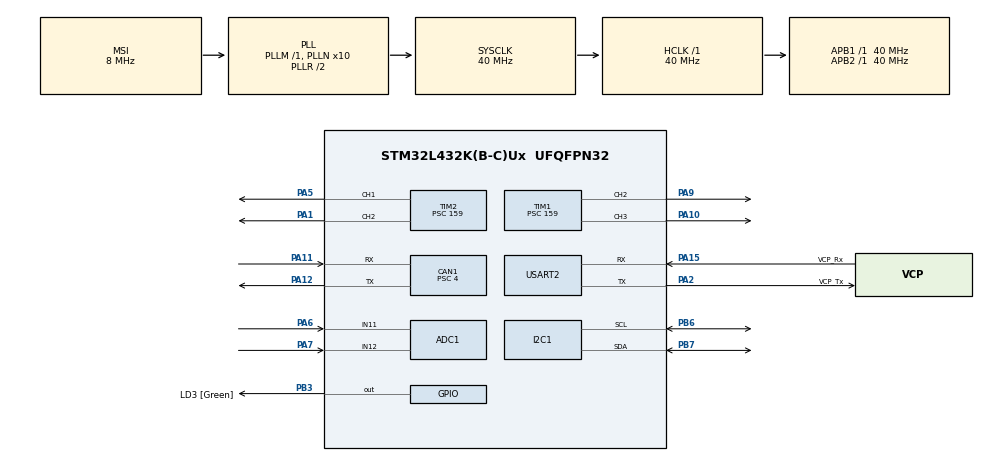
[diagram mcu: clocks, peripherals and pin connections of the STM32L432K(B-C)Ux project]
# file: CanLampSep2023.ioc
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ADC1.Channel-2\#ChannelRegularConversion=ADC_CHANNEL_12
ADC1.Channel-3\#ChannelRegularConversion=ADC_CHANNEL_11
ADC1.ClockPrescaler=ADC_CLOCK_ASYNC_DIV16
ADC1.ContinuousConvMode=ENABLE
ADC1.DMAContinuousRequests=ENABLE
ADC1.NbrOfConversion=2
ADC1.NbrOfConversionFlag=1
ADC1.OffsetNumber-2\#ChannelRegularConversion=ADC_OFFSET_NONE
ADC1.OffsetNumber-3\#ChannelRegularConversion=ADC_OFFSET_NONE
ADC1.Rank-2\#ChannelRegularConversion=1
ADC1.Rank-3\#ChannelRegularConversion=2
ADC1.SamplingTime-2\#ChannelRegularConversion=ADC_SAMPLETIME_640CYCLES_5
ADC1.SamplingTime-3\#ChannelRegularConversion=ADC_SAMPLETIME_640CYCLES_5
ADC1.master=1
CAN1.BS1=CAN_BS1_14TQ
CAN1.BS2=CAN_BS2_5TQ
CAN1.CalculateBaudRate=500000
CAN1.CalculateTimeBit=2000
CAN1.CalculateTimeQuantum=100.0
CAN1.Mode=CAN_MODE_NORMAL
CAN1.NART=ENABLE
CAN1.Prescaler=4
Dma.ADC1.0.Direction=DMA_PERIPH_TO_MEMORY
Dma.ADC1.0.Instance=DMA1_Channel1
Dma.ADC1.0.MemDataAlignment=DMA_MDATAALIGN_HALFWORD
Dma.ADC1.0.MemInc=DMA_MINC_ENABLE
Dma.ADC1.0.Mode=DMA_CIRCULAR
Dma.ADC1.0.PeriphDataAlignment=DMA_PDATAALIGN_HALFWORD
Dma.ADC1.0.PeriphInc=DMA_PINC_DISABLE
Dma.ADC1.0.Priority=DMA_PRIORITY_LOW
Dma.Request0=ADC1
Dma.Request1=USART2_RX
Dma.Request2=USART2_TX
Dma.USART2_RX.1.Direction=DMA_PERIPH_TO_MEMORY
Dma.USART2_RX.1.Instance=DMA1_Channel6
Dma.USART2_RX.1.MemDataAlignment=DMA_MDATAALIGN_BYTE
Dma.USART2_RX.1.MemInc=DMA_MINC_ENABLE
Dma.USART2_RX.1.Mode=DMA_NORMAL
Dma.USART2_RX.1.PeriphDataAlignment=DMA_PDATAALIGN_BYTE
Dma.USART2_RX.1.PeriphInc=DMA_PINC_DISABLE
Dma.USART2_RX.1.Priority=DMA_PRIORITY_LOW
Dma.USART2_TX.2.Direction=DMA_MEMORY_TO_PERIPH
Dma.USART2_TX.2.Instance=DMA1_Channel7
Dma.USART2_TX.2.MemDataAlignment=DMA_MDATAALIGN_BYTE
Dma.USART2_TX.2.MemInc=DMA_MINC_ENABLE
Dma.USART2_TX.2.Mode=DMA_NORMAL
Dma.USART2_TX.2.PeriphDataAlignment=DMA_PDATAALIGN_BYTE
Dma.USART2_TX.2.PeriphInc=DMA_PINC_DISABLE
Dma.USART2_TX.2.Priority=DMA_PRIORITY_LOW
I2C1.Timing=0x00D09BE3
Mcu.Family=STM32L4
Mcu.Name=STM32L432K(B-C)Ux
Mcu.Package=UFQFPN32
NVIC.CAN1_RX0_IRQn=true\:0\:0\:false\:false\:true\:true\:true\:true
NVIC.CAN1_RX1_IRQn=true\:0\:0\:false\:false\:true\:true\:true\:true
NVIC.CAN1_TX_IRQn=true\:0\:0\:false\:false\:true\:true\:true\:true
NVIC.DMA1_Channel1_IRQn=true\:0\:0\:false\:false\:true\:false\:true\:true
NVIC.DMA1_Channel6_IRQn=true\:0\:0\:false\:false\:true\:false\:true\:true
NVIC.DMA1_Channel7_IRQn=true\:0\:0\:false\:false\:true\:false\:true\:true
NVIC.I2C1_ER_IRQn=true\:0\:0\:false\:false\:true\:true\:true\:true
NVIC.I2C1_EV_IRQn=true\:0\:0\:false\:false\:true\:true\:true\:true
NVIC.PriorityGroup=NVIC_PRIORITYGROUP_4
NVIC.TIM6_DAC_IRQn=true\:0\:0\:false\:false\:true\:true\:true\:true
NVIC.USART2_IRQn=true\:0\:0\:false\:false\:true\:true\:true\:true
PA0.GPIO_Label=MCO [High speed clock in]
PA0.Mode=HSE-External-Clock-Source-for-LittleOrca
PA0.Signal=RCC_CK_IN
PA1.Signal=S_TIM2_CH2
PA10.Signal=S_TIM1_CH3
PA11.GPIO_PuPd=GPIO_PULLUP
PA11.Mode=CAN_Activate
PA11.Signal=CAN1_RX
PA12.Mode=CAN_Activate
PA12.Signal=CAN1_TX
PA13\ (JTMS-SWDIO).GPIO_Label=SWDIO
PA13\ (JTMS-SWDIO).Mode=Serial_Wire
PA13\ (JTMS-SWDIO).Signal=SYS_JTMS-SWDIO
PA14\ (JTCK-SWCLK).GPIO_Label=SWCLK
PA14\ (JTCK-SWCLK).Mode=Serial_Wire
PA14\ (JTCK-SWCLK).Signal=SYS_JTCK-SWCLK
PA15\ (JTDI).GPIO_Label=VCP_Rx
PA15\ (JTDI).Mode=Asynchronous
PA15\ (JTDI).Signal=USART2_RX
PA2.GPIO_Label=VCP_Tx
PA2.Mode=Asynchronous
PA2.Signal=USART2_TX
PA5.Signal=S_TIM2_CH1
PA6.Signal=ADCx_IN11
PA7.Signal=ADCx_IN12
PA9.Signal=S_TIM1_CH2
PB3\ (JTDO-TRACESWO).GPIO_Label=LD3 [Green]
PB3\ (JTDO-TRACESWO).Signal=GPIO_Output
PB6.Mode=I2C
PB6.Signal=I2C1_SCL
PB7.Mode=I2C
PB7.Signal=I2C1_SDA
PC14-OSC32_IN\ (PC14).Mode=LSE-External-Oscillator
PC14-OSC32_IN\ (PC14).Signal=RCC_OSC32_IN
PC15-OSC32_OUT\ (PC15).Mode=LSE-External-Oscillator
PC15-OSC32_OUT\ (PC15).Signal=RCC_OSC32_OUT
ProjectManager.HeapSize=0x200
ProjectManager.StackSize=0x400
ProjectManager.TargetToolchain=STM32CubeIDE
RCC.ADCCLockSelection=RCC_ADCCLKSOURCE_SYSCLK
RCC.ADCFreq_Value=40000000
RCC.AHBFreq_Value=40000000
RCC.APB1Freq_Value=40000000
RCC.APB1TimFreq_Value=40000000
RCC.APB2Freq_Value=40000000
RCC.APB2TimFreq_Value=40000000
RCC.CortexFreq_Value=40000000
RCC.HCLKFreq_Value=40000000
RCC.HSE_VALUE=8000000
RCC.HSI16_VALUE=16000000
RCC.HSI48_VALUE=48000000
RCC.HSI_VALUE=16000000
RCC.MSIClockRange=RCC_MSIRANGE_7
RCC.MSI_VALUE=8000000
RCC.PLLMUL=RCC_PLLMUL_4
RCC.PLLN=10
RCC.PLLSAI1N=16
RCC.SYSCLKFreq_VALUE=40000000
RCC.SYSCLKSource=RCC_SYSCLKSOURCE_PLLCLK
RCC.USBFreq_Value=64000000
RCC.VCOOutputFreq_Value=80000000
SH.ADCx_IN11.0=ADC1_IN11,IN11-Single-Ended
SH.ADCx_IN12.0=ADC1_IN12,IN12-Single-Ended
SH.S_TIM1_CH2.0=TIM1_CH2,PWM Generation2 CH2
SH.S_TIM1_CH3.0=TIM1_CH3,PWM Generation3 CH3
SH.S_TIM2_CH1.0=TIM2_CH1,PWM Generation1 CH1
SH.S_TIM2_CH2.0=TIM2_CH2,PWM Generation2 CH2
TIM1.Channel-PWM\ Generation2\ CH2=TIM_CHANNEL_2
TIM1.Channel-PWM\ Generation3\ CH3=TIM_CHANNEL_3
TIM1.Period=1024
TIM1.Prescaler=159
TIM1.Pulse-PWM\ Generation2\ CH2=1
TIM1.Pulse-PWM\ Generation3\ CH3=1
TIM2.Channel-PWM\ Generation1\ CH1=TIM_CHANNEL_1
TIM2.Channel-PWM\ Generation2\ CH2=TIM_CHANNEL_2
TIM2.OCPolarity_2=TIM_OCPOLARITY_HIGH
TIM2.Period=1024
TIM2.Prescaler=159
TIM2.Pulse-PWM\ Generation1\ CH1=1
TIM2.Pulse-PWM\ Generation2\ CH2=1
TIM6.AutoReloadPreload=TIM_AUTORELOAD_PRELOAD_ENABLE
TIM6.Period=999
TIM6.Prescaler=39
USART2.DMADisableonRxErrorParam=ADVFEATURE_DMA_ENABLEONRXERROR
USART2.OverrunDisableParam=ADVFEATURE_OVERRUN_ENABLE
USART2.VirtualMode-Asynchronous=VM_ASYNC
VP_RTC_VS_RTC_Activate.Mode=RTC_Enabled
VP_RTC_VS_RTC_Calendar.Mode=RTC_Calendar
VP_TIM1_VS_ClockSourceINT.Mode=Internal
VP_TIM6_VS_ClockSourceINT.Mode=Enable_Timer
board=NUCLEO-L432KC

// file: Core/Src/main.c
/* USER CODE BEGIN Header */
/**
  ******************************************************************************
  * @file           : main.c
  * @brief          : Main program body
  * @author			:	Jon Freeman B.  Eng.  Hons
  * @date			:	August 2023
  ******************************************************************************
  *
  *	For West Buckland Signals
  *
  *	LED Signal Head Controller
  *
  *	Unit uses Cree or Osram RGBW leds - separate Red, Green, Blue, White (check part nums)
  *
  *	Communicates with signalling system over CAN bus, aux com port also via USB
  *
  *	Supply voltage range 12 to 50 or similar.  Onboard voltmeter adjusts max LED current automatically
  *
  *
  ******************************************************************************
  */
/* USER CODE END Header */
#include "main.h"

/* USER CODE BEGIN Includes */
#include	<stdbool.h>

/* USER CODE END Includes */

/* USER CODE BEGIN PD */
#define	ADC_BUFFLEN		512

/* USER CODE END PD */

ADC_HandleTypeDef hadc1;
DMA_HandleTypeDef hdma_adc1;

CAN_HandleTypeDef hcan1;

I2C_HandleTypeDef hi2c1;

RTC_HandleTypeDef hrtc;

TIM_HandleTypeDef htim1;
TIM_HandleTypeDef htim2;
TIM_HandleTypeDef htim6;

UART_HandleTypeDef huart2;
DMA_HandleTypeDef hdma_usart2_rx;
DMA_HandleTypeDef hdma_usart2_tx;

/* USER CODE BEGIN PV */
volatile	bool	adc_half = false;
volatile	bool	adc_full = false;
uint16_t	adc_buff[ADC_BUFFLEN];

/* USER CODE END PV */

void SystemClock_Config(void);
static void MX_GPIO_Init(void);
static void MX_DMA_Init(void);
static void MX_USART2_UART_Init(void);
static void MX_ADC1_Init(void);
static void MX_CAN1_Init(void);
static void MX_TIM1_Init(void);
static void MX_I2C1_Init(void);
static void MX_TIM2_Init(void);
static void MX_RTC_Init(void);
static void MX_TIM6_Init(void);
/* USER CODE BEGIN PFP */
extern	void	ForeverLoop	()	;

/* USER CODE END PFP */

/* USER CODE BEGIN 0 */
#define	NUMOF_ADC_CHANS	2
//uint8_t		CANTxData[8];
//uint8_t		CANRxData[8];
//uint32_t	cancount = 0;
uint32_t	adc_new_results[NUMOF_ADC_CHANS + 1] = {0};
uint32_t	adc_prev_results[NUMOF_ADC_CHANS + 1] = {0};

void	adc_read_updater	(bool	full)	{
	uint16_t *	read_addr = adc_buff;
	if	(full)							//	Ping pong buffer is either half full or full
		read_addr += (ADC_BUFFLEN / 2);	//	if full then read from upper half as is now writing to lower half
	for	(int i = 0; i < NUMOF_ADC_CHANS; i++)	{
		adc_prev_results[i] = adc_new_results[i];
		adc_new_results[i] = 0;
	}
	for	(int i = 0; i < ((ADC_BUFFLEN / 2) / NUMOF_ADC_CHANS); i++)	{
		for	(int j = 0; j < NUMOF_ADC_CHANS; j++)	{
			adc_new_results[j] += *read_addr++;
		}
	}
}

/* USER CODE END 0 */

int main(void)
{

  /* MCU Configuration--------------------------------------------------------*/

  /* Reset of all peripherals, Initializes the Flash interface and the Systick. */
  HAL_Init();

  /* Configure the system clock */
  SystemClock_Config();

  /* Initialize all configured peripherals */
  MX_GPIO_Init();
  MX_DMA_Init();
  MX_USART2_UART_Init();
  MX_ADC1_Init();
  MX_CAN1_Init();
  MX_TIM1_Init();
  MX_I2C1_Init();
  MX_TIM2_Init();
  MX_RTC_Init();
  MX_TIM6_Init();
  /* USER CODE BEGIN 2 */
  HAL_ADC_Start_DMA	(&hadc1, (uint32_t*)adc_buff, ADC_BUFFLEN);

//  HAL_TIM_PWM_Start	(&htim3, TIM_CHANNEL_3);
//  HAL_TIM_PWM_Start	(&htim3, TIM_CHANNEL_4);
  HAL_TIM_Base_Start_IT(&htim6);	//	Need this to start timer

//  HAL_TIM_PWM_Start	(&htim1, TIM_CHANNEL_1);
  HAL_TIM_PWM_Start	(&htim1, TIM_CHANNEL_2);
  HAL_TIM_PWM_Start	(&htim1, TIM_CHANNEL_3);

  HAL_TIM_PWM_Start	(&htim2, TIM_CHANNEL_1);
  HAL_TIM_PWM_Start	(&htim2, TIM_CHANNEL_2);
//  HAL_TIM_PWM_Start	(&htim2, TIM_CHANNEL_4);
//    start_CAN_txrx	();	//	Now done as final step of init
//  HAL_CAN_Start(&hcan1);
/*
  if	(HAL_OK != HAL_CAN_ActivateNotification(&hcan1, CAN_IT_RX_FIFO0_MSG_PENDING))
	  cancount++;

  if	(HAL_OK != HAL_CAN_ActivateNotification(&hcan1, CAN_IT_RX_FIFO1_MSG_PENDING))
	  cancount++;
*/
  HAL_UART_Transmit(&huart2, (uint8_t*)"Let There Be LIGHT\r\n", 20, 10);

  /* USER CODE END 2 */

  /* Infinite loop */
  /* USER CODE BEGIN WHILE */
  ForeverLoop	()	;
  while (1)
  {
/*	  if	(adc_half)	{
		  adc_half = false;
		  adc_read_updater	(false)	;
		  HAL_GPIO_WritePin(LD3_GPIO_Port, LD3_Pin, GPIO_PIN_RESET);
	  }
	  if	(adc_full)	{
		  adc_full = false;
		  adc_read_updater	(true)	;
		  HAL_GPIO_WritePin(LD3_GPIO_Port, LD3_Pin, GPIO_PIN_SET);
	  }*/
    /* USER CODE END WHILE */

  }
}

void SystemClock_Config(void)
{
  RCC_OscInitTypeDef RCC_OscInitStruct = {0};
  RCC_ClkInitTypeDef RCC_ClkInitStruct = {0};

  /** Configure the main internal regulator output voltage
  */
  if (HAL_PWREx_ControlVoltageScaling(PWR_REGULATOR_VOLTAGE_SCALE1) != HAL_OK)
  {
    Error_Handler();
  }

  /** Configure LSE Drive Capability
  */
  HAL_PWR_EnableBkUpAccess();
  __HAL_RCC_LSEDRIVE_CONFIG(RCC_LSEDRIVE_LOW);

  /** Initializes the RCC Oscillators according to the specified parameters
  * in the RCC_OscInitTypeDef structure.
  */
  RCC_OscInitStruct.OscillatorType = RCC_OSCILLATORTYPE_LSI|RCC_OSCILLATORTYPE_LSE
                              |RCC_OSCILLATORTYPE_MSI;
  RCC_OscInitStruct.LSEState = RCC_LSE_ON;
  RCC_OscInitStruct.LSIState = RCC_LSI_ON;
  RCC_OscInitStruct.MSIState = RCC_MSI_ON;
  RCC_OscInitStruct.MSICalibrationValue = 0;
  RCC_OscInitStruct.MSIClockRange = RCC_MSIRANGE_7;
  RCC_OscInitStruct.PLL.PLLState = RCC_PLL_ON;
  RCC_OscInitStruct.PLL.PLLSource = RCC_PLLSOURCE_MSI;
  RCC_OscInitStruct.PLL.PLLM = 1;
  RCC_OscInitStruct.PLL.PLLN = 10;
  RCC_OscInitStruct.PLL.PLLP = RCC_PLLP_DIV7;
  RCC_OscInitStruct.PLL.PLLQ = RCC_PLLQ_DIV2;
  RCC_OscInitStruct.PLL.PLLR = RCC_PLLR_DIV2;
  if (HAL_RCC_OscConfig(&RCC_OscInitStruct) != HAL_OK)
  {
    Error_Handler();
  }

  /** Initializes the CPU, AHB and APB buses clocks
  */
  RCC_ClkInitStruct.ClockType = RCC_CLOCKTYPE_HCLK|RCC_CLOCKTYPE_SYSCLK
                              |RCC_CLOCKTYPE_PCLK1|RCC_CLOCKTYPE_PCLK2;
  RCC_ClkInitStruct.SYSCLKSource = RCC_SYSCLKSOURCE_PLLCLK;
  RCC_ClkInitStruct.AHBCLKDivider = RCC_SYSCLK_DIV1;
  RCC_ClkInitStruct.APB1CLKDivider = RCC_HCLK_DIV1;
  RCC_ClkInitStruct.APB2CLKDivider = RCC_HCLK_DIV1;

  if (HAL_RCC_ClockConfig(&RCC_ClkInitStruct, FLASH_LATENCY_2) != HAL_OK)
  {
    Error_Handler();
  }

  /** Enable MSI Auto calibration
  */
  HAL_RCCEx_EnableMSIPLLMode();
}

static void MX_ADC1_Init(void)
{

  ADC_ChannelConfTypeDef sConfig = {0};

  /** Common config
  */
  hadc1.Instance = ADC1;
  hadc1.Init.ClockPrescaler = ADC_CLOCK_ASYNC_DIV16;
  hadc1.Init.Resolution = ADC_RESOLUTION_12B;
  hadc1.Init.DataAlign = ADC_DATAALIGN_RIGHT;
  hadc1.Init.ScanConvMode = ADC_SCAN_ENABLE;
  hadc1.Init.EOCSelection = ADC_EOC_SINGLE_CONV;
  hadc1.Init.LowPowerAutoWait = DISABLE;
  hadc1.Init.ContinuousConvMode = ENABLE;
  hadc1.Init.NbrOfConversion = 2;
  hadc1.Init.DiscontinuousConvMode = DISABLE;
  hadc1.Init.ExternalTrigConv = ADC_SOFTWARE_START;
  hadc1.Init.ExternalTrigConvEdge = ADC_EXTERNALTRIGCONVEDGE_NONE;
  hadc1.Init.DMAContinuousRequests = ENABLE;
  hadc1.Init.Overrun = ADC_OVR_DATA_PRESERVED;
  hadc1.Init.OversamplingMode = DISABLE;
  if (HAL_ADC_Init(&hadc1) != HAL_OK)
  {
    Error_Handler();
  }

  /** Configure Regular Channel
  */
  sConfig.Channel = ADC_CHANNEL_12;
  sConfig.Rank = ADC_REGULAR_RANK_1;
  sConfig.SamplingTime = ADC_SAMPLETIME_640CYCLES_5;
  sConfig.SingleDiff = ADC_SINGLE_ENDED;
  sConfig.OffsetNumber = ADC_OFFSET_NONE;
  sConfig.Offset = 0;
  if (HAL_ADC_ConfigChannel(&hadc1, &sConfig) != HAL_OK)
  {
    Error_Handler();
  }

  /** Configure Regular Channel
  */
  sConfig.Channel = ADC_CHANNEL_11;
  sConfig.Rank = ADC_REGULAR_RANK_2;
  if (HAL_ADC_ConfigChannel(&hadc1, &sConfig) != HAL_OK)
  {
    Error_Handler();
  }

}

static void MX_CAN1_Init(void)
{

  /* USER CODE BEGIN CAN1_Init 1 */

	/*	From ST forum advice added by Jon Freeman, Aug 2024
	And typically, to keep sampling point at ~80% of bit time:
	Prescaler = 4
	Bit Segment 1 = 13 Times
	Bit Segment 2 = 4 Times
	*/

  /* USER CODE END CAN1_Init 1 */
  hcan1.Instance = CAN1;
  hcan1.Init.Prescaler = 4;
  hcan1.Init.Mode = CAN_MODE_NORMAL;
  hcan1.Init.SyncJumpWidth = CAN_SJW_1TQ;
  hcan1.Init.TimeSeg1 = CAN_BS1_14TQ;
  hcan1.Init.TimeSeg2 = CAN_BS2_5TQ;
  hcan1.Init.TimeTriggeredMode = DISABLE;
  hcan1.Init.AutoBusOff = DISABLE;
  hcan1.Init.AutoWakeUp = DISABLE;
  hcan1.Init.AutoRetransmission = ENABLE;
  hcan1.Init.ReceiveFifoLocked = DISABLE;
  hcan1.Init.TransmitFifoPriority = DISABLE;
  if (HAL_CAN_Init(&hcan1) != HAL_OK)
  {
    Error_Handler();
  }
  /* USER CODE BEGIN CAN1_Init 2 */
//  extern	void  can_filter_setup();
//  can_filter_setup();	//	Also starts CAN

  /* USER CODE END CAN1_Init 2 */

}

static void MX_I2C1_Init(void)
{

  hi2c1.Instance = I2C1;
  hi2c1.Init.Timing = 0x00D09BE3;
  hi2c1.Init.OwnAddress1 = 0;
  hi2c1.Init.AddressingMode = I2C_ADDRESSINGMODE_7BIT;
  hi2c1.Init.DualAddressMode = I2C_DUALADDRESS_DISABLE;
  hi2c1.Init.OwnAddress2 = 0;
  hi2c1.Init.OwnAddress2Masks = I2C_OA2_NOMASK;
  hi2c1.Init.GeneralCallMode = I2C_GENERALCALL_DISABLE;
  hi2c1.Init.NoStretchMode = I2C_NOSTRETCH_DISABLE;
  if (HAL_I2C_Init(&hi2c1) != HAL_OK)
  {
    Error_Handler();
  }

  /** Configure Analogue filter
  */
  if (HAL_I2CEx_ConfigAnalogFilter(&hi2c1, I2C_ANALOGFILTER_ENABLE) != HAL_OK)
  {
    Error_Handler();
  }

  /** Configure Digital filter
  */
  if (HAL_I2CEx_ConfigDigitalFilter(&hi2c1, 0) != HAL_OK)
  {
    Error_Handler();
  }

}

static void MX_RTC_Init(void)
{

  RTC_TimeTypeDef sTime = {0};
  RTC_DateTypeDef sDate = {0};

  /** Initialize RTC Only
  */
  hrtc.Instance = RTC;
  hrtc.Init.HourFormat = RTC_HOURFORMAT_24;
  hrtc.Init.AsynchPrediv = 127;
  hrtc.Init.SynchPrediv = 255;
  hrtc.Init.OutPut = RTC_OUTPUT_DISABLE;
  hrtc.Init.OutPutRemap = RTC_OUTPUT_REMAP_NONE;
  hrtc.Init.OutPutPolarity = RTC_OUTPUT_POLARITY_HIGH;
  hrtc.Init.OutPutType = RTC_OUTPUT_TYPE_OPENDRAIN;
  if (HAL_RTC_Init(&hrtc) != HAL_OK)
  {
    Error_Handler();
  }

  /** Initialize RTC and set the Time and Date
  */
  sTime.Hours = 0x0;
  sTime.Minutes = 0x0;
  sTime.Seconds = 0x0;
  sTime.DayLightSaving = RTC_DAYLIGHTSAVING_NONE;
  sTime.StoreOperation = RTC_STOREOPERATION_RESET;
  if (HAL_RTC_SetTime(&hrtc, &sTime, RTC_FORMAT_BCD) != HAL_OK)
  {
    Error_Handler();
  }
  sDate.WeekDay = RTC_WEEKDAY_MONDAY;
  sDate.Month = RTC_MONTH_JANUARY;
  sDate.Date = 0x1;
  sDate.Year = 0x0;

  if (HAL_RTC_SetDate(&hrtc, &sDate, RTC_FORMAT_BCD) != HAL_OK)
  {
    Error_Handler();
  }

}

static void MX_TIM1_Init(void)
{

  TIM_ClockConfigTypeDef sClockSourceConfig = {0};
  TIM_MasterConfigTypeDef sMasterConfig = {0};
  TIM_OC_InitTypeDef sConfigOC = {0};
  TIM_BreakDeadTimeConfigTypeDef sBreakDeadTimeConfig = {0};

  htim1.Instance = TIM1;
  htim1.Init.Prescaler = 159;
  htim1.Init.CounterMode = TIM_COUNTERMODE_UP;
  htim1.Init.Period = 1024;
  htim1.Init.ClockDivision = TIM_CLOCKDIVISION_DIV1;
  htim1.Init.RepetitionCounter = 0;
  htim1.Init.AutoReloadPreload = TIM_AUTORELOAD_PRELOAD_DISABLE;
  if (HAL_TIM_Base_Init(&htim1) != HAL_OK)
  {
    Error_Handler();
  }
  sClockSourceConfig.ClockSource = TIM_CLOCKSOURCE_INTERNAL;
  if (HAL_TIM_ConfigClockSource(&htim1, &sClockSourceConfig) != HAL_OK)
  {
    Error_Handler();
  }
  if (HAL_TIM_PWM_Init(&htim1) != HAL_OK)
  {
    Error_Handler();
  }
  sMasterConfig.MasterOutputTrigger = TIM_TRGO_RESET;
  sMasterConfig.MasterOutputTrigger2 = TIM_TRGO2_RESET;
  sMasterConfig.MasterSlaveMode = TIM_MASTERSLAVEMODE_DISABLE;
  if (HAL_TIMEx_MasterConfigSynchronization(&htim1, &sMasterConfig) != HAL_OK)
  {
    Error_Handler();
  }
  sConfigOC.OCMode = TIM_OCMODE_PWM1;
  sConfigOC.Pulse = 1;
  sConfigOC.OCPolarity = TIM_OCPOLARITY_HIGH;
  sConfigOC.OCNPolarity = TIM_OCNPOLARITY_HIGH;
  sConfigOC.OCFastMode = TIM_OCFAST_DISABLE;
  sConfigOC.OCIdleState = TIM_OCIDLESTATE_RESET;
  sConfigOC.OCNIdleState = TIM_OCNIDLESTATE_RESET;
  if (HAL_TIM_PWM_ConfigChannel(&htim1, &sConfigOC, TIM_CHANNEL_2) != HAL_OK)
  {
    Error_Handler();
  }
  if (HAL_TIM_PWM_ConfigChannel(&htim1, &sConfigOC, TIM_CHANNEL_3) != HAL_OK)
  {
    Error_Handler();
  }
  sBreakDeadTimeConfig.OffStateRunMode = TIM_OSSR_DISABLE;
  sBreakDeadTimeConfig.OffStateIDLEMode = TIM_OSSI_DISABLE;
  sBreakDeadTimeConfig.LockLevel = TIM_LOCKLEVEL_OFF;
  sBreakDeadTimeConfig.DeadTime = 0;
  sBreakDeadTimeConfig.BreakState = TIM_BREAK_DISABLE;
  sBreakDeadTimeConfig.BreakPolarity = TIM_BREAKPOLARITY_HIGH;
  sBreakDeadTimeConfig.BreakFilter = 0;
  sBreakDeadTimeConfig.Break2State = TIM_BREAK2_DISABLE;
  sBreakDeadTimeConfig.Break2Polarity = TIM_BREAK2POLARITY_HIGH;
  sBreakDeadTimeConfig.Break2Filter = 0;
  sBreakDeadTimeConfig.AutomaticOutput = TIM_AUTOMATICOUTPUT_DISABLE;
  if (HAL_TIMEx_ConfigBreakDeadTime(&htim1, &sBreakDeadTimeConfig) != HAL_OK)
  {
    Error_Handler();
  }
  /* USER CODE BEGIN TIM1_Init 2 */
//uint32_t		periodlu = htim1.Init.Period;
  /* USER CODE END TIM1_Init 2 */
  HAL_TIM_MspPostInit(&htim1);

}

static void MX_TIM2_Init(void)
{

  TIM_MasterConfigTypeDef sMasterConfig = {0};
  TIM_OC_InitTypeDef sConfigOC = {0};

  htim2.Instance = TIM2;
  htim2.Init.Prescaler = 159;
  htim2.Init.CounterMode = TIM_COUNTERMODE_UP;
  htim2.Init.Period = 1024;
  htim2.Init.ClockDivision = TIM_CLOCKDIVISION_DIV1;
  htim2.Init.AutoReloadPreload = TIM_AUTORELOAD_PRELOAD_DISABLE;
  if (HAL_TIM_PWM_Init(&htim2) != HAL_OK)
  {
    Error_Handler();
  }
  sMasterConfig.MasterOutputTrigger = TIM_TRGO_RESET;
  sMasterConfig.MasterSlaveMode = TIM_MASTERSLAVEMODE_DISABLE;
  if (HAL_TIMEx_MasterConfigSynchronization(&htim2, &sMasterConfig) != HAL_OK)
  {
    Error_Handler();
  }
  sConfigOC.OCMode = TIM_OCMODE_PWM1;
  sConfigOC.Pulse = 1;
  sConfigOC.OCPolarity = TIM_OCPOLARITY_HIGH;
  sConfigOC.OCFastMode = TIM_OCFAST_DISABLE;
  if (HAL_TIM_PWM_ConfigChannel(&htim2, &sConfigOC, TIM_CHANNEL_1) != HAL_OK)
  {
    Error_Handler();
  }
  if (HAL_TIM_PWM_ConfigChannel(&htim2, &sConfigOC, TIM_CHANNEL_2) != HAL_OK)
  {
    Error_Handler();
  }
  HAL_TIM_MspPostInit(&htim2);

}

static void MX_TIM6_Init(void)
{

  TIM_MasterConfigTypeDef sMasterConfig = {0};

  htim6.Instance = TIM6;
  htim6.Init.Prescaler = 39;
  htim6.Init.CounterMode = TIM_COUNTERMODE_UP;
  htim6.Init.Period = 999;
  htim6.Init.AutoReloadPreload = TIM_AUTORELOAD_PRELOAD_ENABLE;
  if (HAL_TIM_Base_Init(&htim6) != HAL_OK)
  {
    Error_Handler();
  }
  sMasterConfig.MasterOutputTrigger = TIM_TRGO_RESET;
  sMasterConfig.MasterSlaveMode = TIM_MASTERSLAVEMODE_DISABLE;
  if (HAL_TIMEx_MasterConfigSynchronization(&htim6, &sMasterConfig) != HAL_OK)
  {
    Error_Handler();
  }

}

static void MX_USART2_UART_Init(void)
{

  huart2.Instance = USART2;
  huart2.Init.BaudRate = 115200;
  huart2.Init.WordLength = UART_WORDLENGTH_8B;
  huart2.Init.StopBits = UART_STOPBITS_1;
  huart2.Init.Parity = UART_PARITY_NONE;
  huart2.Init.Mode = UART_MODE_TX_RX;
  huart2.Init.HwFlowCtl = UART_HWCONTROL_NONE;
  huart2.Init.OverSampling = UART_OVERSAMPLING_16;
  huart2.Init.OneBitSampling = UART_ONE_BIT_SAMPLE_DISABLE;
  huart2.AdvancedInit.AdvFeatureInit = UART_ADVFEATURE_NO_INIT;
  if (HAL_UART_Init(&huart2) != HAL_OK)
  {
    Error_Handler();
  }

}

static void MX_DMA_Init(void)
{

  /* DMA controller clock enable */
  __HAL_RCC_DMA1_CLK_ENABLE();

  /* DMA interrupt init */
  /* DMA1_Channel1_IRQn interrupt configuration */
  HAL_NVIC_SetPriority(DMA1_Channel1_IRQn, 0, 0);
  HAL_NVIC_EnableIRQ(DMA1_Channel1_IRQn);
  /* DMA1_Channel6_IRQn interrupt configuration */
  HAL_NVIC_SetPriority(DMA1_Channel6_IRQn, 0, 0);
  HAL_NVIC_EnableIRQ(DMA1_Channel6_IRQn);
  /* DMA1_Channel7_IRQn interrupt configuration */
  HAL_NVIC_SetPriority(DMA1_Channel7_IRQn, 0, 0);
  HAL_NVIC_EnableIRQ(DMA1_Channel7_IRQn);

}

static void MX_GPIO_Init(void)
{
  GPIO_InitTypeDef GPIO_InitStruct = {0};

  /* GPIO Ports Clock Enable */
  __HAL_RCC_GPIOC_CLK_ENABLE();
  __HAL_RCC_GPIOA_CLK_ENABLE();
  __HAL_RCC_GPIOB_CLK_ENABLE();

  /*Configure GPIO pin Output Level */
  HAL_GPIO_WritePin(LD3_GPIO_Port, LD3_Pin, GPIO_PIN_RESET);

  /*Configure GPIO pin : LD3_Pin */
  GPIO_InitStruct.Pin = LD3_Pin;
  GPIO_InitStruct.Mode = GPIO_MODE_OUTPUT_PP;
  GPIO_InitStruct.Pull = GPIO_NOPULL;
  GPIO_InitStruct.Speed = GPIO_SPEED_FREQ_LOW;
  HAL_GPIO_Init(LD3_GPIO_Port, &GPIO_InitStruct);

}

/* USER CODE BEGIN 4 */
void	HAL_ADC_ConvHalfCpltCallback	(ADC_HandleTypeDef* hadc)	{
//	  HAL_GPIO_WritePin(LD3_GPIO_Port, LD3_Pin, GPIO_PIN_SET);
	adc_half = true;
}

void	HAL_ADC_ConvCpltCallback	(ADC_HandleTypeDef* hadc)	{
//	  HAL_GPIO_WritePin(LD3_GPIO_Port, LD3_Pin, GPIO_PIN_RESET);
	adc_full = true;
}

/* USER CODE END 4 */

void Error_Handler(void)
{
  __disable_irq();
  while (1)
  {
  }
}
